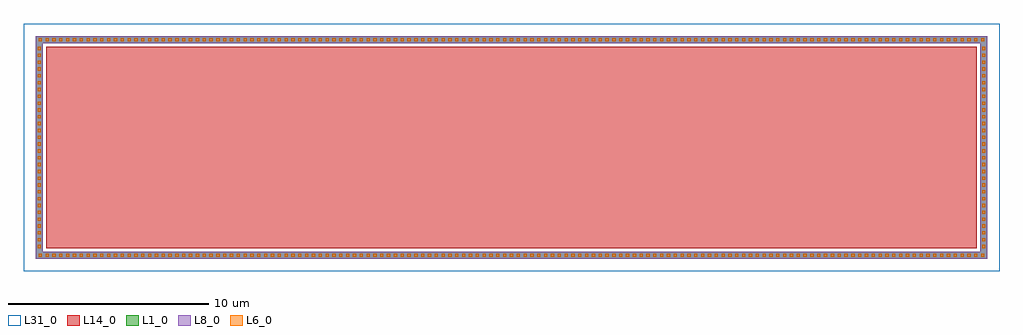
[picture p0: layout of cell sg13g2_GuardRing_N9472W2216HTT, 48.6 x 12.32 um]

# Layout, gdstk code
import gdstk
lib = gdstk.Library(unit=1e-6, precision=1e-09)
def R(c, l, rs):  # rectangles x0, y0, x1, y1
    for r in rs: c.add(gdstk.rectangle(r[:2], r[2:], *l))
def A(c, l, x, y, w, h, nx, ny, dx, dy):  # array of equal rectangles
    R(c, l, [(x+i*dx, y+j*dy, x+i*dx+w, y+j*dy+h) for i in range(nx) for j in range(ny)])
def P(c, l, *ps):  # polygons
    for p in ps: c.add(gdstk.Polygon(p, *l))
L1_0 = (1, 0)
L6_0 = (6, 0)
L8_0 = (8, 0)
L14_0 = (14, 0)
L31_0 = (31, 0)

sg13g2_guardring_n9472w2 = lib.new_cell('sg13g2_GuardRing_N9472W2216HTT')
P(sg13g2_guardring_n9472w2, L1_0, [(-23.68,-5.54),(-23.68,5.2),(-23.34,5.2),(-23.34,-5.2),(23.34,-5.2),(23.34,5.2),(-23.68,5.2),(-23.68,5.54),(23.68,5.54),(23.68,-5.54)])
A(sg13g2_guardring_n9472w2, L6_0, -23.54, -5.45, 0.16, 0.16, 139, 2, 0.34, 10.74)
A(sg13g2_guardring_n9472w2, L6_0, -23.59, -5.01, 0.16, 0.16, 1, 30, 0, 0.34)
A(sg13g2_guardring_n9472w2, L6_0, 23.43, -5.01, 0.16, 0.16, 1, 30, 0, 0.34)
P(sg13g2_guardring_n9472w2, L8_0, [(-23.68,-5.54),(-23.68,5.2),(-23.34,5.2),(-23.34,-5.2),(23.34,-5.2),(23.34,5.2),(-23.68,5.2),(-23.68,5.54),(23.68,5.54),(23.68,-5.54)])
R(sg13g2_guardring_n9472w2, L14_0, [(-23.16,-5.02,23.16,5.02)])
R(sg13g2_guardring_n9472w2, L31_0, [(-24.3,-6.16,24.3,6.16)])

lib.write_gds('sg13g2_GuardRing_N9472W2216HTT.gds')
